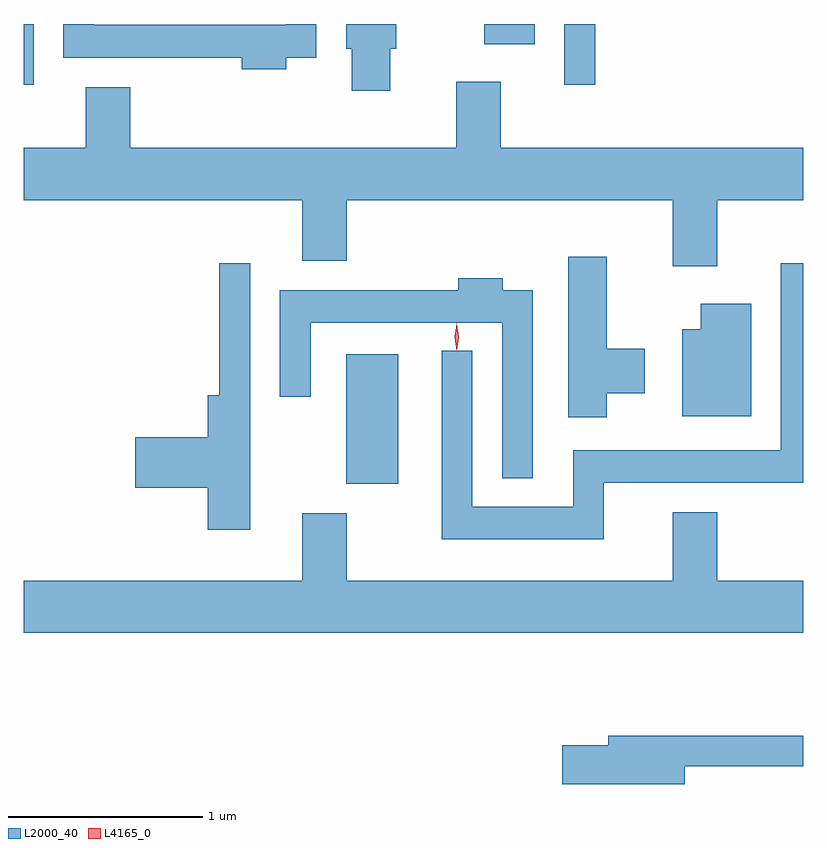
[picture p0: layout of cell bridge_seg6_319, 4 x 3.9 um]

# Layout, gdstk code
import gdstk
lib = gdstk.Library(unit=1e-6, precision=1e-09)
def R(c, l, rs):  # rectangles x0, y0, x1, y1
    for r in rs: c.add(gdstk.rectangle(r[:2], r[2:], *l))
def P(c, l, *ps):  # polygons
    for p in ps: c.add(gdstk.Polygon(p, *l))
L2000_40 = (2000, 40)
L4165_0 = (4165, 0)

bridge_seg6_319 = lib.new_cell('bridge_seg6_319')
R(bridge_seg6_319, L2000_40, [(1282.716,1537.481,1282.984,1538.144), (1281.062,1539.528,1281.114,1539.839), (1283.836,1539.528,1283.994,1539.839), (1283.426,1539.736,1283.684,1539.839)])
P(bridge_seg6_319, L2000_40, [(1282.409,1539.666),(1282.564,1539.666),(1282.564,1539.839),(1282.406,1539.839),(1282.406,1539.834),(1281.424,1539.834),(1281.424,1539.839),(1281.266,1539.839),(1281.266,1539.666),(1282.181,1539.666),(1282.181,1539.606),(1282.409,1539.606)],
  [(1282.944,1539.711),(1282.974,1539.711),(1282.974,1539.839),(1282.716,1539.839),(1282.716,1539.711),(1282.746,1539.711),(1282.746,1539.496),(1282.944,1539.496)],
  [(1284.619,1538.936),(1285.062,1538.936),(1285.062,1539.204),(1283.509,1539.204),(1283.509,1539.544),(1283.281,1539.544),(1283.281,1539.204),(1281.609,1539.204),(1281.609,1539.514),(1281.381,1539.514),(1281.381,1539.204),(1281.062,1539.204),(1281.062,1538.936),(1282.491,1538.936),(1282.491,1538.626),(1282.719,1538.626),(1282.719,1538.936),(1284.391,1538.936),(1284.391,1538.596),(1284.619,1538.596)],
  [(1284.054,1537.946),(1284.249,1537.946),(1284.249,1538.174),(1284.054,1538.174),(1284.054,1538.644),(1283.856,1538.644),(1283.856,1537.821),(1284.054,1537.821)],
  [(1282.224,1538.613),(1282.066,1538.613),(1282.066,1537.934),(1282.006,1537.934),(1282.006,1537.719),(1281.636,1537.719),(1281.636,1537.461),(1282.006,1537.461),(1282.006,1537.246),(1282.224,1537.246)],
  [(1284.039,1537.486),(1285.062,1537.486),(1285.062,1538.613),(1284.946,1538.613),(1284.946,1537.654),(1283.881,1537.654),(1283.881,1537.364),(1283.364,1537.364),(1283.364,1538.163),(1283.206,1538.163),(1283.206,1537.196),(1284.039,1537.196)],
  [(1283.674,1538.474),(1283.519,1538.474),(1283.519,1538.534),(1283.291,1538.534),(1283.291,1538.474),(1282.376,1538.474),(1282.376,1537.928),(1282.534,1537.928),(1282.534,1538.306),(1283.516,1538.306),(1283.516,1537.508),(1283.674,1537.508)],
  [(1284.794,1538.404),(1284.536,1538.404),(1284.536,1538.274),(1284.441,1538.274),(1284.441,1537.826),(1284.794,1537.826)],
  [(1285.062,1536.984),(1284.619,1536.984),(1284.619,1537.334),(1284.391,1537.334),(1284.391,1536.984),(1282.719,1536.984),(1282.719,1537.329),(1282.491,1537.329),(1282.491,1536.984),(1281.062,1536.984),(1281.062,1536.716),(1285.062,1536.716)],
  [(1284.454,1536.031),(1285.062,1536.031),(1285.062,1536.189),(1284.061,1536.189),(1284.061,1536.139),(1283.826,1536.139),(1283.826,1535.941),(1284.454,1535.941)])
P(bridge_seg6_319, L4165_0, [(1283.283,1538.167),(1283.274,1538.234),(1283.283,1538.3),(1283.284,1538.3),(1283.284,1538.3),(1283.294,1538.234),(1283.284,1538.167),(1283.284,1538.167)],
  [(1283.284,1538.164),(1283.284,1538.164),(1283.274,1538.233),(1283.284,1538.302),(1283.284,1538.303),(1283.285,1538.302),(1283.294,1538.233),(1283.285,1538.164)])

lib.write_gds('bridge_seg6_319.gds')
